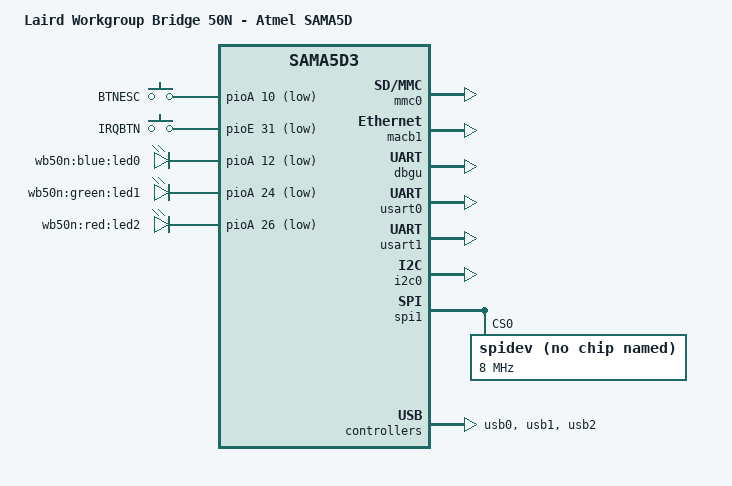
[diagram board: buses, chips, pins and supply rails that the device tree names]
/*
 * wb50n.dts - Device Tree file for wb50n board
 *
 *  Copyright (C) 2015 Laird
 *
 * Licensed under GPLv2 or later.
 */
/dts-v1/;
#include "wb50n.dtsi"

/ {
	model = "Laird Workgroup Bridge 50N - Atmel SAMA5D";
	compatible = "laird,wb50n", "atmel,sama5d31ek", "atmel,sama5d3xmb", "atmel,sama5d3xcm", "atmel,sama5d31", "atmel,sama5d3", "atmel,sama5";

	chosen {
		bootargs = "console=ttyS0,115200 earlyprintk loglevel=4 mem=64M";
	};

	ahb {

		apb {
			mmc0: mmc@f0000000 {
				status = "okay";
			};

			macb1: ethernet@f802c000 {
				status = "okay";
			};

			dbgu: serial@ffffee00 {
				status = "okay";
			};

			/* On BB40 this port is labeled UART1 */
			usart0: serial@f001c000 {
				status = "okay";
			};

			/* On BB40 this port is labeled UART0 */
			usart1: serial@f0020000 {
				status = "okay";
			};

			i2c0: i2c@f0014000 {
				status = "okay";
			};

			spi1: spi@f8008000 {
				status = "okay";

				spidev@0 {
					compatible = "spidev";
					reg = <0>;
					spi-max-frequency = <8000000>;
				};
			};

			watchdog@fffffe40 {
				status = "okay";
			};
		};

		usb0: gadget@00500000 {
			status = "okay";
		};

		usb1: ohci@00600000 {
			status = "okay";
		};

		usb2: ehci@00700000 {
			status = "okay";
		};
	};

	keys {
		compatible = "gpio-keys";
		#address-cells = <1>;
		#size-cells = <0>;
		btn0@pa10 {
			label = "BTNESC";
			linux,code = <1>; /* ESC button */
			gpios = <&pioA 10 GPIO_ACTIVE_LOW>;
			gpio-key,wakeup = <1>;
		};

		irqbtn@pe31 {
			label = "IRQBTN";
			linux,code = <99>; /* SysReq button */
			gpios = <&pioE 31 GPIO_ACTIVE_LOW>;
			gpio-key,wakeup = <1>;
		};
	};

	leds {
		compatible = "gpio-leds";

		led0 {
			label = "wb50n:blue:led0";
			gpios = <&pioA 12 GPIO_ACTIVE_LOW>;
		};

		led1 {
			label = "wb50n:green:led1";
			gpios = <&pioA 24 GPIO_ACTIVE_LOW>;
		};

		led2 {
			label = "wb50n:red:led2";
			gpios = <&pioA 26 GPIO_ACTIVE_LOW>;
		};
	};
};
